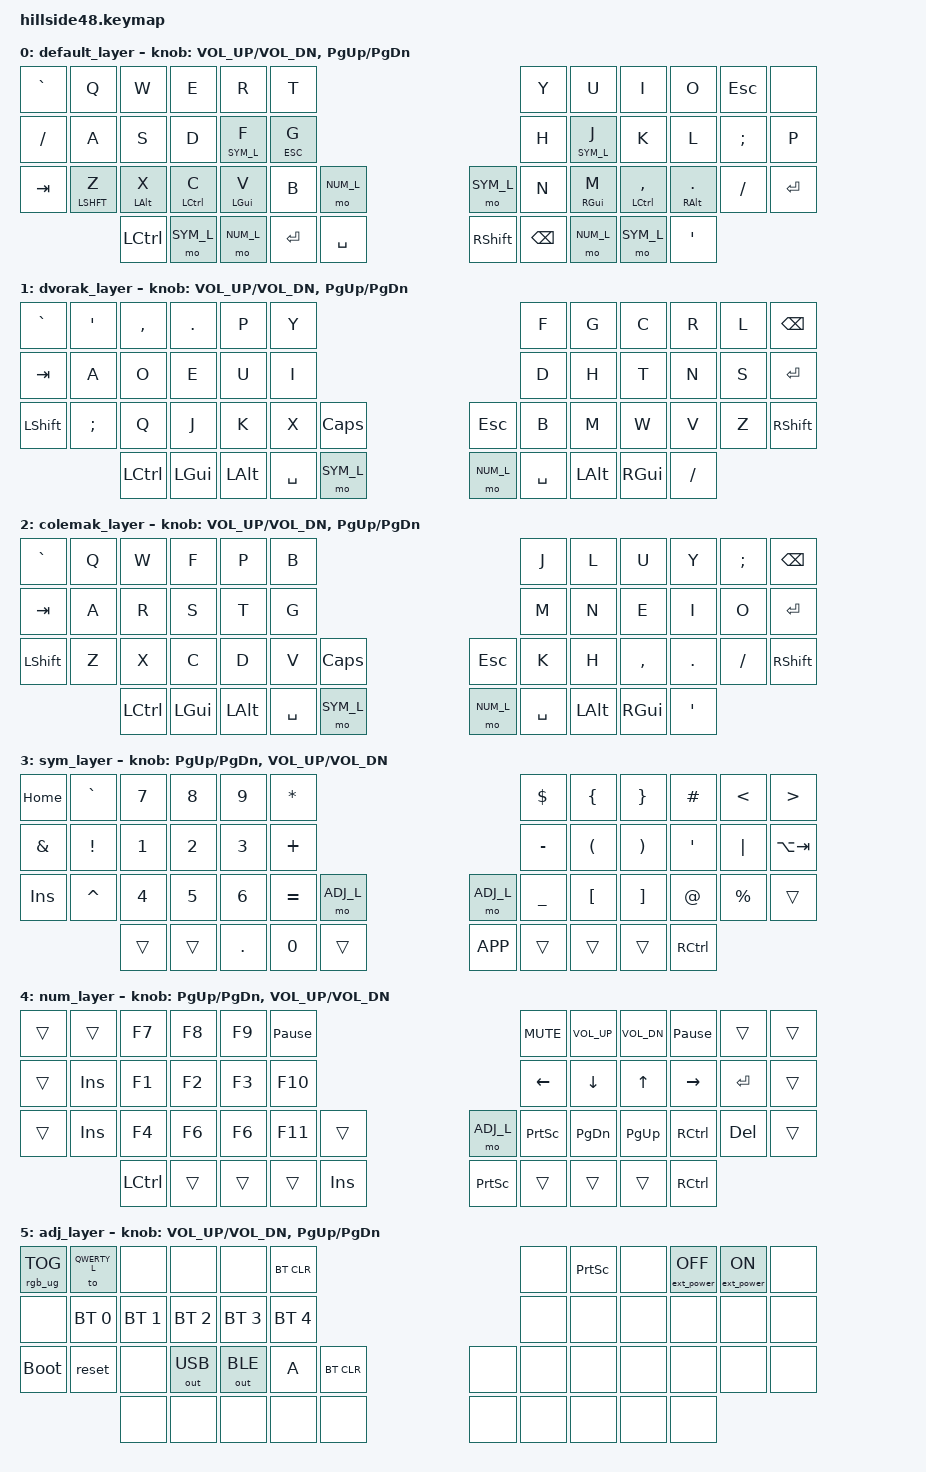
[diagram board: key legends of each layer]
/* * Copyright (c) 2022 The ZMK Contributors
 *
 * SPDX-License-Identifier: MIT
 */

#include <behaviors.dtsi>
#include <dt-bindings/zmk/bt.h>
#include <dt-bindings/zmk/ext_power.h>
#include <dt-bindings/zmk/keys.h>
#include <dt-bindings/zmk/outputs.h>
#include <dt-bindings/zmk/rgb.h>

#define QWERTY_L 0
#define DVORAK_L 1
#define COLEMK_L 2
#define SYM_L    3
#define NUM_L    4
#define ADJ_L    5
#define UNDO   LC(Z)
#define REDO   LC(Y)
#define Cut    LC(X)
#define Copy   LC(C)
#define Paste  LC(V)
#define BRK PAUSE_BREAK
#define CMA COMMA

&mt {
    flavor = "tap-preferred";
    tapping_term_ms = <200>;
};

/ {
    combos {
        compatible = "zmk,combos";

        combo_c_bri_up {
            timeout-ms = <100>;         /* B + N */
            key-positions = <4 5>;
            bindings = <&kp C_BRI_UP>;
        };

        combo_c_bri_dn {
            timeout-ms = <100>;         /* R + E */
            key-positions = <29 30>;
            bindings = <&kp C_BRI_DN>;
        };

        combo_redo {
            timeout-ms = <100>;         /* R + E */
            key-positions = <3 4>;
            bindings = <&kp REDO>;
        };

        combo_undo {
            timeout-ms = <100>;         /* U + I */
            key-positions = <7 8>;
            bindings = <&kp UNDO>;
        };

        combo_prcnt {
            timeout-ms = <60>;         /* S + L */
            key-positions = <14 21>;
            bindings = <&kp PRCNT>;
        };

        combo_colon {
            timeout-ms = <100>;         /* F + J */
            key-positions = <16 19>;
            bindings = <&kp COLON>;
        };

        combo_tab {
            timeout-ms = <100>;         /* S + D */
            key-positions = <14 15>;
            bindings = <&kp TAB>;
        };

        combo_esc {
            timeout-ms = <100>;         /* D + F */
            key-positions = <15 16>;
            bindings = <&kp ESC>;
        };

        combo_fslh {
            timeout-ms = <100>;         /* F + G */
            key-positions = <16 17>;
            bindings = <&kp FSLH>;
        };

        combo_astrk {
            timeout-ms = <100>;         /* D + K */
            key-positions = <15 20>;
            bindings = <&kp ASTRK>;
        };

        combo_bslh {
            timeout-ms = <100>;         /* H + J */
            key-positions = <18 19>;
            bindings = <&kp BSLH>;
        };

        combo_lt {
            timeout-ms = <60>;         /* K + L */
            key-positions = <20 21>;
            bindings = <&kp LT>;
        };

        combo_gt {
            timeout-ms = <60>;         /* J + K */
            key-positions = <19 20>;
            bindings = <&kp GT>;
        };

        combo_grave {
            timeout-ms = <60>;         /* W + E */
            key-positions = <2 3>;
            bindings = <&kp GRAVE>;
        };

        combo_tilde {
            timeout-ms = <60>;         /* I + O */
            key-positions = <8 9>;
            bindings = <&kp TILDE>;
        };
    };

    keymap {
        compatible = "zmk,keymap";

        default_layer {
            /* QWERTY
 * ----------------------------------------------------------------------------------------------------------------------------------------------------------------------
 * | `     | NONE  |     W      |   E      |    R     |    T    |---------------------------------------|   Y   |    U     |    I          |    O       | ESC   | NONE  |
 * | Q     |   A   |     S      |   D      |  SYM F   |  ESC G  |---------------------------------------|   H   |    SYM J |    K          |    L       |   ;   | P     |
 * | TAB   | SHF Z |   LALT X   | LCTRL C  |  GUI V   |    B    | NUM |--------------------------| SYM  |   N   |    GUI M |    RCTRL ,    |  RALT .    |   /   | ENTER |
 * ----------------|   LCTRL    |----------|   SYM   |   NUM   | ENTER | SPACE |-----------| RSHFT |  BSPC |  NUM  |  SYM  |---------------| SD QUOTE   |----------------
 */

            bindings = <
&kp GRAVE  &kp Q        &kp W       &kp E        &kp R        &kp T                                                  &kp Y      &kp U        &kp I          &kp O         &kp ESC    &none
&kp SLASH  &kp A        &kp S       &kp D        &lt SYM_L F  &lt ESC G                                              &kp H      &lt SYM_L J  &kp K          &kp L         &kp SEMI   &kp P
&kp TAB    &lt LSHFT Z  &mt LALT X  &mt LCTRL C  &mt LGUI V   &kp B      &mo NUM_L                        &mo SYM_L  &kp N      &mt RGUI M   &mt LCTRL CMA  &mt RALT DOT  &kp SLASH  &kp ENTER
                        &kp LCTRL                &mo SYM_L    &mo NUM_L  &kp RET    &kp SPACE  &kp RSHFT  &kp BSPC   &mo NUM_L  &mo SYM_L                   &kp SQT
            >;

            sensor-bindings = <&inc_dec_kp C_VOL_UP C_VOL_DN &inc_dec_kp PG_UP PG_DN>;
        };

        dvorak_layer {
            /* DVORAK
 * -------------------------------------------------------------------------------------------------------------------------------------
 * | `     |   '   |   ,   |   .   |   P   |   Y   |-----------------------------------|   F   |   G   |   C   |   R   |   L   | BKSPC |
 * | TAB   |   A   |   O   |   E   |   U   |   I   |-----------------------------------|   D   |   H   |   T   |   N   |   S   | ENTER |
 * | SHIFT |   ;   |   Q   |   J   |   K   |   X   | CAPS  |-------------------|  ESC  |   B   |   M   |   W   |   V   |   Z   | SHIFT |
 * ----------------| CTRL  |-------|  GUI  |  ALT  | SPACE |  Sym  |---|  Num  | SPACE |  ALT  |  GUI  |-------|   /   |----------------
 */

            bindings = <
&kp GRAVE  &kp SQT   &kp COMMA  &kp DOT  &kp P     &kp Y                                                 &kp F     &kp G     &kp C  &kp R      &kp L  &kp BSPC
&kp TAB    &kp A     &kp O      &kp E    &kp U     &kp I                                                 &kp D     &kp H     &kp T  &kp N      &kp S  &kp ENTER
&kp LSHFT  &kp SEMI  &kp Q      &kp J    &kp K     &kp X     &kp CAPS                         &kp ESC    &kp B     &kp M     &kp W  &kp V      &kp Z  &kp RSHFT
                     &kp LCTRL           &kp LGUI  &kp LALT  &kp SPACE  &mo SYM_L  &mo NUM_L  &kp SPACE  &kp LALT  &kp RGUI         &kp SLASH
            >;

            sensor-bindings = <&inc_dec_kp C_VOL_UP C_VOL_DN &inc_dec_kp PG_UP PG_DN>;
        };

        colemak_layer {
            /* COLEMAK-DH
 * -------------------------------------------------------------------------------------------------------------------------------------
 * | `     |   Q   |   W   |   F   |   P   |   B   |-----------------------------------|   J   |   L   |   U   |   Y   |   ;   | BKSPC |
 * | TAB   |   A   |   R   |   S   |   T   |   G   |-----------------------------------|   M   |   N   |   E   |   I   |   O   | ENTER |
 * | SHIFT |   Z   |   X   |   C   |   D   |   V   | CAPS  |-------------------|  ESC  |   K   |   H   |   ,   |   .   |   /   | SHIFT |
 * ----------------| CTRL  |-------|  GUI  |  ALT  | SPACE |  Sym  |---|  Num  | SPACE |  ALT  |  GUI  |-------|   '   |----------------
 */

            bindings = <
&kp GRAVE  &kp Q  &kp W      &kp F  &kp P     &kp B                                                 &kp J     &kp L     &kp U      &kp Y    &kp SEMI   &kp BSPC
&kp TAB    &kp A  &kp R      &kp S  &kp T     &kp G                                                 &kp M     &kp N     &kp E      &kp I    &kp O      &kp ENTER
&kp LSHFT  &kp Z  &kp X      &kp C  &kp D     &kp V     &kp CAPS                         &kp ESC    &kp K     &kp H     &kp COMMA  &kp DOT  &kp SLASH  &kp RSHFT
                  &kp LCTRL         &kp LGUI  &kp LALT  &kp SPACE  &mo SYM_L  &mo NUM_L  &kp SPACE  &kp LALT  &kp RGUI             &kp SQT
            >;

            sensor-bindings = <&inc_dec_kp C_VOL_UP C_VOL_DN &inc_dec_kp PG_UP PG_DN>;
        };

        /* 
                        sym_layer {
 * ORIG SYM
 * -------------------------------------------------------------------------------------------------------------------------------------
 * | HOME  |   !   |   @   |   #   |   $   |   %   |-----------------------------------|   ^   |   &   |   *   |   (   |   )   | BSPC  |
 * | END   |  GUI  |  ALT  | CTRL  | Shift | Pg Up |-----------------------------------|   -   |   =   |   [   |   ]   |   \   | ENTER |
 * | Shift |  UnDo |  Cut  | Copy  | Paste | Pg Dn |OsAltGr|-------------------| ADJ_L |   _   |   +   |   {   |   }   |   |   | SHIFT |
 * ----------------|       |-------|       |       |       |       |---| MENU |       |       |       |-------| CTRL  |----------------
                        bindings = <
&kp  HOME     &kp  EXCL     &kp  AT       &kp  HASH     &kp  DOLLAR   &kp  PERCENT                                                                   &kp  CARET    &kp  AMPS     &kp  ASTRK    &kp  LPAR     &kp  RPAR     &trans
&kp  END      &kp  LGUI     &kp  LALT     &kp  LCTRL    &kp  LSHFT    &kp  PG_UP                                                                     &kp  MINUS    &kp  EQUAL    &kp  LBKT     &kp  RBKT     &kp  BSLH     &trans
&trans        &kp  Undo     &kp  Cut      &kp  Copy     &kp  Paste    &kp  PG_DN    &trans                                              &mo ADJ_L    &kp  UNDER    &kp  PLUS     &kp  LBRC     &kp  RBRC     &kp  PIPE     &trans
                            &trans                      &trans        &trans        &trans        &trans                 &kp K_APP      &trans        &trans        &trans                      &kp  RCTRL    
                        >;
			
                        sensor-bindings = <&inc_dec_kp PG_UP PG_DN &inc_dec_kp C_VOL_UP C_VOL_DN>;
                };
 */

        sym_layer {
            /* SYM
 * -------------------------------------------------------------------------------------------------------------------------------------------------
 * | HOME  |    `    |   7   |   8   |   9  |   *   |---------------------------------------|   $    |    {    |    }    |    #    | TRANS | TRANS |
 * |   &   |    !    |   1   |   2   |   3  |   +   |---------------------------------------|   -    |    [    |    ]    |    '    |   |   | ALTAB |
 * | INS   |    ~    |   4   |   5   |   6  |   =   | ADJ_L |---------------------| ADJ_L   |   _    |    (    |    )    |    @    |   %   | TRANS |
 * ------------------|     |-------|        |   .   |   0    |  TRANS   |---| MENU | TRANS  |  TRANS | TRANS |--------| CTRL  |---------------------
 */

            bindings = <
&kp HOME  &kp GRAVE  &kp N7  &kp N8  &kp N9  &kp ASTRK                                           &kp DLLR   &kp LBRC  &kp RBRC  &kp HASH   &kp LT     &kp GT
&kp AMPS  &kp EXCL   &kp N1  &kp N2  &kp N3  &kp PLUS                                            &kp MINUS  &kp LPAR  &kp RPAR  &kp SQT    &kp PIPE   &kp LA(TAB)
&kp INS   &kp CARET  &kp N4  &kp N5  &kp N6  &kp EQUAL  &mo ADJ_L                     &mo ADJ_L  &kp UNDER  &kp LBKT  &kp RBKT  &kp AT     &kp PRCNT  &trans
                     &trans          &trans  &kp DOT    &kp N0     &trans  &kp K_APP  &trans     &trans     &trans              &kp RCTRL
            >;

            sensor-bindings = <&inc_dec_kp PG_UP PG_DN &inc_dec_kp C_VOL_UP C_VOL_DN>;
        };

        num_layer {
            /* NUM   
 * ----------------------------------------------------------------------------------------------------------------------------------------------------------
 * |  TRNS  |  TRNS |  F7   |  F8   |  F9   |  BRK |--------------------------------------| C_MUTE |  C_VOL_UP  |   C_VOL_DN   |   BRK    | TRNS  |  TRNS    |
 * |  TRNS  |  INS  |  F1   |  F2   |  F3   |  F10  |-------------------------------------| Left   |  Down      |   Up         |   Right  | ENTER |  TRNS    |
 * |  TRNS  |  INS  |  F4   |  F5   |  F6   |  F11  | TRNS  |---------------------| ADJ_L | PSCRN  |  PG_DN     |   PG_UP      |   ALT    | DEL   |  TRNS    |
 * -----------------| CTRL  |---| TRNS | TRNS | TRNS |     INS    |-----|  PSCRN  |----TRNS-----|----TRNS----|------TRNS----|----| CTRL   |-------------------
 */

            bindings = <
&trans  &trans   &kp F7     &kp F8  &kp F9  &kp BRK                                         &kp C_MUTE  &kp C_VOL_UP  &kp C_VOL_DN  &kp BRK    &trans     &trans
&trans  &kp INS  &kp F1     &kp F2  &kp F3  &kp F10                                         &kp LEFT    &kp DOWN      &kp UP        &kp RIGHT  &kp ENTER  &trans
&trans  &kp INS  &kp F4     &kp F6  &kp F6  &kp F11  &trans                      &mo ADJ_L  &kp PSCRN   &kp PG_DN     &kp PG_UP     &kp RCTRL  &kp DEL    &trans
                 &kp LCTRL          &trans  &trans   &trans  &kp INS  &kp PSCRN  &trans     &trans      &trans                      &kp RCTRL
            >;

            sensor-bindings = <&inc_dec_kp PG_UP PG_DN &inc_dec_kp C_VOL_UP C_VOL_DN>;
        };

        adj_layer {
            /* ADJUST
 * -------------------------------------------------------------------------------------------------------------------------------------------------------------------------------
 * | RGB_TOG |    QWERTY     | NONEDVORAK | NONECOLEMK  |  NONE    |  BT_CLR  |----------------------------|   NONE  | PSCRN   | NONE   |   EP_OFF       |   EP_ON   |   NONE    |
 * | NONE    |    BT 0       |    BT 1    | BT 2        |  BT 3    |  BT 4    |----------------------------|   NONE  | NONE    | NONE   |   NONE         |   NONE    |   NONE    |
 * | BOOTL   |    RESET      |    NONE    |  OUT_USB    |  OUT_BLE |  A       |  BT CLR |------------| NONE|   NONE  | NONE    | NONE   |   NONE         |   NONE    |   NONE    |
 * --------------------------| NONE  |-------| NONE | NONE  |    NONE  |  NONE  |  NONE   |--|  NONE    |  NONE   | NONE | NONE  |------|   CTRL  |-------------------------------
 */

            bindings = <
&rgb_ug RGB_TOG  &to QWERTY_L  &none         &none         &none         &bt BT_CLR                                     &none  &kp PSCRN  &none  &ext_power EP_OFF  &ext_power EP_ON  &none
&none            &bt BT_SEL 0  &bt BT_SEL 1  &bt BT_SEL 2  &bt BT_SEL 3  &bt BT_SEL 4                                   &none  &none      &none  &none              &none             &none
&bootloader      &reset        &none         &out OUT_USB  &out OUT_BLE  &kp A         &bt BT_CLR                &none  &none  &none      &none  &none              &none             &none
                               &none                       &none         &none         &none       &none  &none  &none  &none  &none             &none
            >;

            sensor-bindings = <&inc_dec_kp C_VOL_UP C_VOL_DN &inc_dec_kp PG_UP PG_DN>;
        };
    };
};
